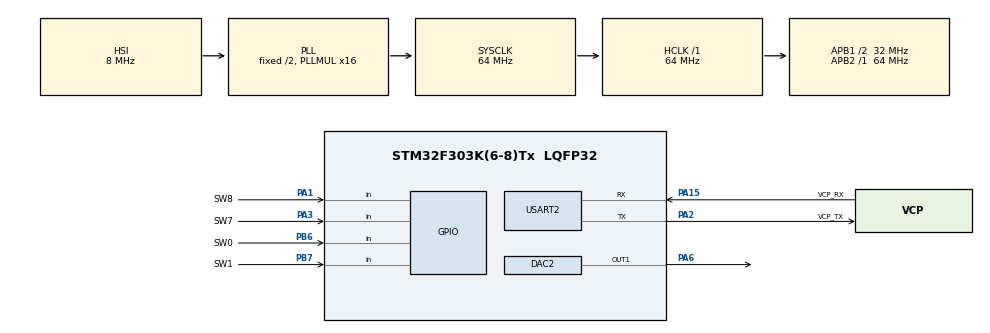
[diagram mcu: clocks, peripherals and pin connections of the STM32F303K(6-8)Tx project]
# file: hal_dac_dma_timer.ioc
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DAC2.DAC_Trigger=DAC_TRIGGER_T7_TRGO
Dma.DAC2_CH1.0.Direction=DMA_MEMORY_TO_PERIPH
Dma.DAC2_CH1.0.Instance=DMA1_Channel5
Dma.DAC2_CH1.0.MemDataAlignment=DMA_MDATAALIGN_HALFWORD
Dma.DAC2_CH1.0.MemInc=DMA_MINC_ENABLE
Dma.DAC2_CH1.0.Mode=DMA_CIRCULAR
Dma.DAC2_CH1.0.PeriphDataAlignment=DMA_PDATAALIGN_HALFWORD
Dma.DAC2_CH1.0.PeriphInc=DMA_PINC_DISABLE
Dma.DAC2_CH1.0.Priority=DMA_PRIORITY_HIGH
Dma.Request0=DAC2_CH1
Mcu.Family=STM32F3
Mcu.Name=STM32F303K(6-8)Tx
Mcu.Package=LQFP32
NVIC.DMA1_Channel5_IRQn=true\:0\:0\:false\:false\:true\:false\:true\:true
NVIC.PriorityGroup=NVIC_PRIORITYGROUP_4
PA1.GPIO_Label=SW8
PA1.Signal=GPIO_Input
PA13.GPIO_Label=SWDIO
PA13.Mode=Serial_Wire
PA13.Signal=SYS_JTMS-SWDIO
PA14.GPIO_Label=SWCLK
PA14.Mode=Serial_Wire
PA14.Signal=SYS_JTCK-SWCLK
PA15.GPIO_Label=VCP_RX
PA15.Mode=Asynchronous
PA15.Signal=USART2_RX
PA2.GPIO_Label=VCP_TX
PA2.Mode=Asynchronous
PA2.Signal=USART2_TX
PA3.GPIO_Label=SW7
PA3.Signal=GPIO_Input
PA6.Signal=COMP_DAC21_group
PB6.GPIO_Label=SW0
PB6.Signal=GPIO_Input
PB7.GPIO_Label=SW1
PB7.Signal=GPIO_Input
PF0\ /\ OSC_IN.GPIO_Label=MCO
PF0\ /\ OSC_IN.Mode=HSE-External-Clock-Source
PF0\ /\ OSC_IN.Signal=RCC_OSC_IN
ProjectManager.HeapSize=0x200
ProjectManager.StackSize=0x400
ProjectManager.TargetToolchain=STM32CubeIDE
RCC.AHBFreq_Value=64000000
RCC.APB1CLKDivider=RCC_HCLK_DIV2
RCC.APB1Freq_Value=32000000
RCC.APB1TimFreq_Value=64000000
RCC.APB2Freq_Value=64000000
RCC.APB2TimFreq_Value=64000000
RCC.CortexFreq_Value=64000000
RCC.HCLKFreq_Value=64000000
RCC.HSE_VALUE=8000000
RCC.HSI_VALUE=8000000
RCC.PLLMUL=RCC_PLL_MUL16
RCC.SYSCLKFreq_VALUE=64000000
RCC.SYSCLKSourceVirtual=RCC_SYSCLKSOURCE_PLLCLK
SH.COMP_DAC21_group.0=DAC2_OUT1,Switch_Enable_OUT1
TIM7.Period=6400
TIM7.TIM_MasterOutputTrigger=TIM_TRGO_UPDATE
USART2.VirtualMode-Asynchronous=VM_ASYNC
VP_TIM7_VS_ClockSourceINT.Mode=Enable_Timer
board=NUCLEO-F303K8

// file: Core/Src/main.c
/* USER CODE BEGIN Header */
/**
  ******************************************************************************
  * @file           : main.c
  * @brief          : Main program body
  ******************************************************************************
  * @attention
  *
  * Copyright (c) 2024 STMicroelectronics.
  * All rights reserved.
  *
  * This software is licensed under terms that can be found in the LICENSE file
  * in the root directory of this software component.
  * If no LICENSE file comes with this software, it is provided AS-IS.
  *
  ******************************************************************************
  */

//DAC2_OUT1 / pin 12 / PA6 (A5): unbuffered => AUDIO, timer 7 triggering
//note: the timer is considered an external trigger, so I think I need to use HAL_DAC_Start_DMA
//DMA config: DAC2_CH1, DMA1 channel 5, memory to peripheral, high priority
//"DMA request mapped on this DMA channel only if the corresponding remapping bit is set in the SYSCFG_CFGR1 or SYSCFGR3 register" (ref manual page 273), I think this is done already with the "__HAL_DMA_REMAP_CHANNEL_ENABLE" command

/* USER CODE END Header */
#include "main.h"

DAC_HandleTypeDef hdac2;
DMA_HandleTypeDef hdma_dac2_ch1;

TIM_HandleTypeDef htim7;

UART_HandleTypeDef huart2;

void SystemClock_Config(void);
static void MX_GPIO_Init(void);
static void MX_DMA_Init(void);
static void MX_USART2_UART_Init(void);
static void MX_DAC2_Init(void);
static void MX_TIM7_Init(void);

/* USER CODE BEGIN 0 */

#define WAVE_BUFFER_CAPACITY 512

uint16_t waveAmplitude;//DAC counts ranging from [0,4095]
uint16_t waveFrequency;//[Hz]
uint16_t waveSize;//[points]
uint16_t waveBuffer[WAVE_BUFFER_CAPACITY];

uint16_t tempAmplitude;
uint16_t tempFrequency;
uint16_t tempSize;
uint16_t tempBuffer[WAVE_BUFFER_CAPACITY];//for double buffering

void GenerateWaveToTransmitInTempBuffer(uint16_t amplitudeValue, uint16_t frequencyValue)
{
	float amplitude = (float)amplitudeValue;//[counts, 4095 max], and wave will be offset so every value is above zero
	float frequency = (float)frequencyValue;//[Hz]
	float sampleRate = 64000000.0f/1.0f/6400.0f;//[samp/sec]
	float sampleTime = 1.0f/sampleRate;//[sec/sample]
	uint16_t samplesPerCycle = (uint16_t)roundf(1.0f/frequency * sampleRate);

	tempAmplitude = amplitudeValue;
	tempFrequency = frequencyValue;
	tempSize = samplesPerCycle;

	for (uint16_t i=0; i<samplesPerCycle; i++)
	{
		float timeS = (i+1) * sampleTime;
		float waveValue = amplitude * sinf(2*M_PI*frequency*timeS) + amplitude;
		if (waveValue < 0) waveValue = 0;//TODO: test and see if I can remove this
		if (waveValue > 4095) waveValue = 4095;
		tempBuffer[i] = (uint16_t)waveValue;
	}
}

void UpdateDACWaveAfterChange()
{
	HAL_DAC_Stop_DMA(&hdac2, DAC_CHANNEL_1);
	memcpy(waveBuffer, tempBuffer, sizeof(uint16_t) * tempSize);
	waveAmplitude = tempAmplitude;
	waveFrequency = tempFrequency;
	waveSize = tempSize;
	HAL_DAC_Start_DMA(&hdac2, DAC_CHANNEL_1, (uint32_t *)waveBuffer, waveSize, DAC_ALIGN_12B_R);
}

/* USER CODE END 0 */

int main(void)
{

  /* MCU Configuration--------------------------------------------------------*/

  /* Reset of all peripherals, Initializes the Flash interface and the Systick. */
  HAL_Init();

  /* Configure the system clock */
  SystemClock_Config();

  /* Initialize all configured peripherals */
  MX_GPIO_Init();
  MX_DMA_Init();
  MX_USART2_UART_Init();
  MX_DAC2_Init();
  MX_TIM7_Init();
  /* USER CODE BEGIN 2 */

  //HAL_DMA_Start_IT(&hdma_dac2_ch1, )
  //Enable the DAC channel using HAL_DAC_Start() or HAL_DAC_Start_DMA() functions
  //dac output voltage equation: DAC_OUTx = VREF+ * DOR / 4095

  GenerateWaveToTransmitInTempBuffer(300, 200);
  UpdateDACWaveAfterChange();

  //start the timer?
  //timer output rate = 8 MHz / prescaler / timermax, so default would be 8000000/1/65536 = 122.07 [update events per second, aka samples/sec]
  __HAL_RCC_TIM7_CLK_ENABLE();
  HAL_TIM_Base_Start(&htim7);   //HAL_TIM_Base_Start_DMA();  ???

  /* USER CODE END 2 */

  /* Infinite loop */
  /* USER CODE BEGIN WHILE */
  while (1)
  {
	  GPIO_PinState pinState0 = HAL_GPIO_ReadPin(SW0_GPIO_Port, SW0_Pin);
	  GPIO_PinState pinState1 = HAL_GPIO_ReadPin(SW1_GPIO_Port, SW1_Pin);
	  GPIO_PinState pinState8 = HAL_GPIO_ReadPin(SW8_GPIO_Port, SW8_Pin);
	  GPIO_PinState pinState7 = HAL_GPIO_ReadPin(SW7_GPIO_Port, SW7_Pin);

	  if (pinState0 == GPIO_PIN_RESET)
	  {
		  uint16_t newAmp = waveAmplitude + 50;
		  if (newAmp > 3000) newAmp = 3000;
		  GenerateWaveToTransmitInTempBuffer(newAmp, waveFrequency);
		  UpdateDACWaveAfterChange();

		  HAL_Delay(200);
	  }
	  if (pinState1 == GPIO_PIN_RESET)
	  {
		  int16_t newAmp = ((int16_t)waveAmplitude) - 50;
		  if (newAmp < 0) newAmp = 0;
		  GenerateWaveToTransmitInTempBuffer((uint16_t)newAmp, waveFrequency);
		  UpdateDACWaveAfterChange();

		  HAL_Delay(200);
	  }
	  if (pinState8 == GPIO_PIN_RESET)
	  {
		  uint16_t newFreq = waveFrequency + 20;
		  if (newFreq > 3000) newFreq = 3000;
		  GenerateWaveToTransmitInTempBuffer(waveAmplitude, newFreq);
		  UpdateDACWaveAfterChange();

		  HAL_Delay(200);
	  }
	  if (pinState7 == GPIO_PIN_RESET)
	  {
		  int16_t newFreq = ((int16_t)waveFrequency) - 20;
		  if (newFreq < 20) newFreq = 20;
		  GenerateWaveToTransmitInTempBuffer(waveAmplitude, (uint16_t)newFreq);
		  UpdateDACWaveAfterChange();

		  HAL_Delay(200);
	  }

    /* USER CODE END WHILE */

  }
}

void SystemClock_Config(void)
{
  RCC_OscInitTypeDef RCC_OscInitStruct = {0};
  RCC_ClkInitTypeDef RCC_ClkInitStruct = {0};

  /** Initializes the RCC Oscillators according to the specified parameters
  * in the RCC_OscInitTypeDef structure.
  */
  RCC_OscInitStruct.OscillatorType = RCC_OSCILLATORTYPE_HSI;
  RCC_OscInitStruct.HSIState = RCC_HSI_ON;
  RCC_OscInitStruct.HSICalibrationValue = RCC_HSICALIBRATION_DEFAULT;
  RCC_OscInitStruct.PLL.PLLState = RCC_PLL_ON;
  RCC_OscInitStruct.PLL.PLLSource = RCC_PLLSOURCE_HSI;
  RCC_OscInitStruct.PLL.PLLMUL = RCC_PLL_MUL16;
  if (HAL_RCC_OscConfig(&RCC_OscInitStruct) != HAL_OK)
  {
    Error_Handler();
  }

  /** Initializes the CPU, AHB and APB buses clocks
  */
  RCC_ClkInitStruct.ClockType = RCC_CLOCKTYPE_HCLK|RCC_CLOCKTYPE_SYSCLK
                              |RCC_CLOCKTYPE_PCLK1|RCC_CLOCKTYPE_PCLK2;
  RCC_ClkInitStruct.SYSCLKSource = RCC_SYSCLKSOURCE_PLLCLK;
  RCC_ClkInitStruct.AHBCLKDivider = RCC_SYSCLK_DIV1;
  RCC_ClkInitStruct.APB1CLKDivider = RCC_HCLK_DIV2;
  RCC_ClkInitStruct.APB2CLKDivider = RCC_HCLK_DIV1;

  if (HAL_RCC_ClockConfig(&RCC_ClkInitStruct, FLASH_LATENCY_2) != HAL_OK)
  {
    Error_Handler();
  }
}

static void MX_DAC2_Init(void)
{

  DAC_ChannelConfTypeDef sConfig = {0};

  /** DAC Initialization
  */
  hdac2.Instance = DAC2;
  if (HAL_DAC_Init(&hdac2) != HAL_OK)
  {
    Error_Handler();
  }

  /** DAC channel OUT1 config
  */
  sConfig.DAC_Trigger = DAC_TRIGGER_T7_TRGO;
  sConfig.DAC_OutputSwitch = DAC_OUTPUTSWITCH_ENABLE;
  if (HAL_DAC_ConfigChannel(&hdac2, &sConfig, DAC_CHANNEL_1) != HAL_OK)
  {
    Error_Handler();
  }

}

static void MX_TIM7_Init(void)
{

  TIM_MasterConfigTypeDef sMasterConfig = {0};

  htim7.Instance = TIM7;
  htim7.Init.Prescaler = 0;
  htim7.Init.CounterMode = TIM_COUNTERMODE_UP;
  htim7.Init.Period = 6400;
  htim7.Init.AutoReloadPreload = TIM_AUTORELOAD_PRELOAD_DISABLE;
  if (HAL_TIM_Base_Init(&htim7) != HAL_OK)
  {
    Error_Handler();
  }
  sMasterConfig.MasterOutputTrigger = TIM_TRGO_UPDATE;
  sMasterConfig.MasterSlaveMode = TIM_MASTERSLAVEMODE_DISABLE;
  if (HAL_TIMEx_MasterConfigSynchronization(&htim7, &sMasterConfig) != HAL_OK)
  {
    Error_Handler();
  }

}

static void MX_USART2_UART_Init(void)
{

  huart2.Instance = USART2;
  huart2.Init.BaudRate = 38400;
  huart2.Init.WordLength = UART_WORDLENGTH_8B;
  huart2.Init.StopBits = UART_STOPBITS_1;
  huart2.Init.Parity = UART_PARITY_NONE;
  huart2.Init.Mode = UART_MODE_TX_RX;
  huart2.Init.HwFlowCtl = UART_HWCONTROL_NONE;
  huart2.Init.OverSampling = UART_OVERSAMPLING_16;
  huart2.Init.OneBitSampling = UART_ONE_BIT_SAMPLE_DISABLE;
  huart2.AdvancedInit.AdvFeatureInit = UART_ADVFEATURE_NO_INIT;
  if (HAL_UART_Init(&huart2) != HAL_OK)
  {
    Error_Handler();
  }

}

static void MX_DMA_Init(void)
{

  /* DMA controller clock enable */
  __HAL_RCC_DMA1_CLK_ENABLE();

  /* DMA interrupt init */
  /* DMA1_Channel5_IRQn interrupt configuration */
  HAL_NVIC_SetPriority(DMA1_Channel5_IRQn, 0, 0);
  HAL_NVIC_EnableIRQ(DMA1_Channel5_IRQn);

}

static void MX_GPIO_Init(void)
{
  GPIO_InitTypeDef GPIO_InitStruct = {0};

  /* GPIO Ports Clock Enable */
  __HAL_RCC_GPIOF_CLK_ENABLE();
  __HAL_RCC_GPIOA_CLK_ENABLE();
  __HAL_RCC_GPIOB_CLK_ENABLE();

  /*Configure GPIO pins : SW8_Pin SW7_Pin */
  GPIO_InitStruct.Pin = SW8_Pin|SW7_Pin;
  GPIO_InitStruct.Mode = GPIO_MODE_INPUT;
  GPIO_InitStruct.Pull = GPIO_NOPULL;
  HAL_GPIO_Init(GPIOA, &GPIO_InitStruct);

  /*Configure GPIO pins : SW0_Pin SW1_Pin */
  GPIO_InitStruct.Pin = SW0_Pin|SW1_Pin;
  GPIO_InitStruct.Mode = GPIO_MODE_INPUT;
  GPIO_InitStruct.Pull = GPIO_NOPULL;
  HAL_GPIO_Init(GPIOB, &GPIO_InitStruct);

}

void Error_Handler(void)
{
  __disable_irq();
  while (1)
  {
  }
}
